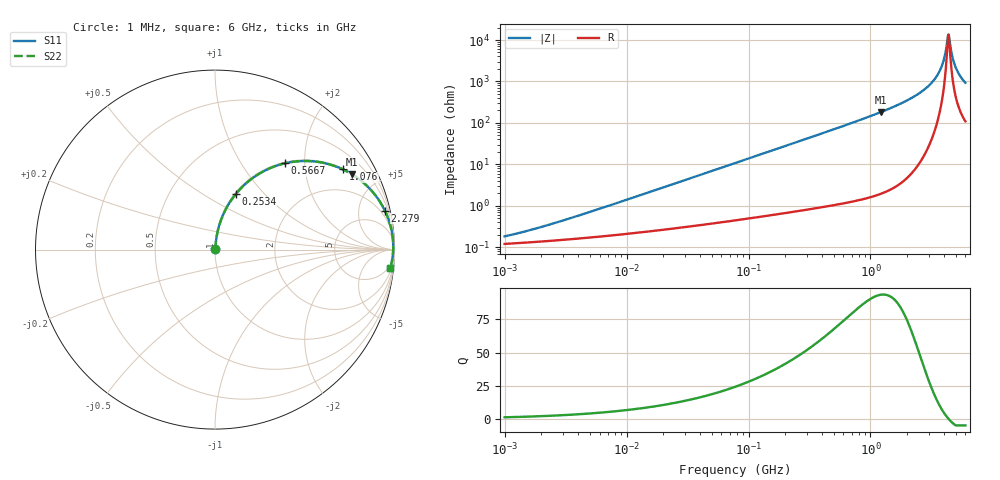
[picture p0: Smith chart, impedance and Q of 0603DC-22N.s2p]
# MHz  S  MA  R  50
!Freq  MagS11  AngS11  MagS21  AngS21  MagS12  AngS12  MagS22  AngS22
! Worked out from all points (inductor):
!   801 points, 1 MHz to 6 GHz, reference 50 ohm
!   read as one part in series: L = 22 nH near 3.38 MHz
!   highest Q = 93.6 at 1.213 GHz (marker M1), where L = 23.8 nH
!   self-resonance near 4.33 GHz
!   S11 on the Smith chart (normalised r, x): 1 MHz: 1.00, +0.00; 253.4 MHz: 1.01, +0.70; 566.7 MHz: 1.02, +1.59; 1.076 GHz: 1.03, +3.17; 2.279 GHz: 1.14, +8.67; 6 GHz: 3, -18
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1  0.001832 48.8  0.9988 -0.1  0.9988 -0.1  0.001832 48.8
4.293785  0.00615 74.1  0.9983 -0.3  0.9983 -0.3  0.00615 74.1
18.23719  0.02527 82.8  0.9971 -1.4  0.9971 -1.4  0.02527 82.8
78.30659  0.1073 81.5  0.9898 -6.2  0.9898 -6.2  0.1073 81.5
253.4246  0.3295 69.6  0.9372 -19.2  0.9372 -19.2  0.3295 69.6
332.5952  0.4169 64.3  0.9014 -24.6  0.9014 -24.6  0.4169 64.3
566.6667  0.619 51.0  0.7768 -38.2  0.7768 -38.2  0.619 51.0
1076.382  0.8416 32.1  0.5311 -57.3  0.5311 -57.3  0.8416 32.1
1213.154  0.8722 28.7  0.4798 -60.7  0.4798 -60.7  0.8722 28.7
1412.647  0.9054 24.5  0.415 -64.9  0.415 -64.9  0.9054 24.5
2279.46  0.9709 12.9  0.2239 -76.1  0.2239 -76.1  0.9709 12.9
2959.215  0.9872 7.5  0.1302 -80.6  0.1302 -80.6  0.9872 7.5
3521.596  0.9923 4.1  0.0711 -81.7  0.0711 -81.7  0.9923 4.1
3883.682  0.9933 2.2  0.03878 -78.9  0.03878 -78.9  0.9933 2.2
4012.47  0.9933 1.6  0.02823 -75.5  0.02823 -75.5  0.9933 1.6
4236.675  0.9931 0.6  0.01179 -54.0  0.01179 -54.0  0.9931 0.6
4329.827  0.9929 0.1  0.007499 -18.9  0.007499 -18.9  0.9929 0.1
4473.409  0.9925 -0.5  0.01116 47.4  0.01116 47.4  0.9925 -0.5
4775.015  0.9912 -1.7  0.03087 72.6  0.03087 72.6  0.9912 -1.7
5041.83  0.9897 -2.7  0.04848 76.4  0.04848 76.4  0.9897 -2.7
5500.089  0.9864 -4.4  0.07708 77.7  0.07708 77.7  0.9864 -4.4
6000  0.982 -6.0  0.106 77.2  0.106 77.2  0.982 -6.0
